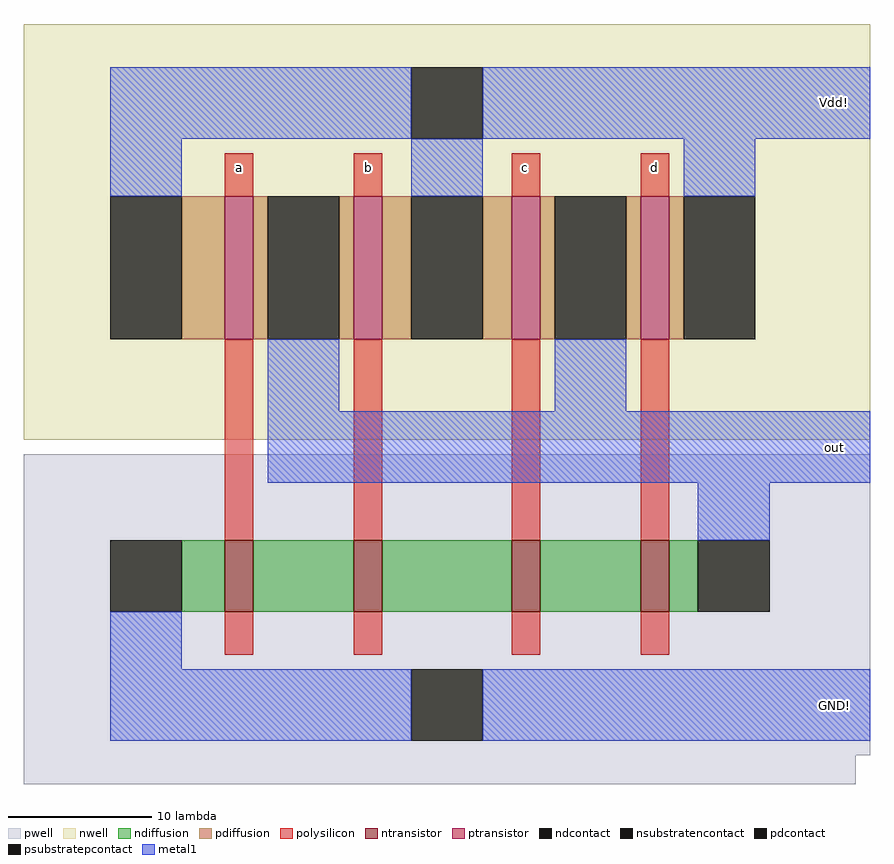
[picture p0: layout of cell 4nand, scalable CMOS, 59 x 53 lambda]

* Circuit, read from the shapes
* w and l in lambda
.subckt 4nand GND! Vdd! a b c d out
M1 n1 a GND! GND! nfet w=5 l=2
M2 n2 b n1 GND! nfet w=5 l=2
M3 n3 c n2 GND! nfet w=5 l=2
M4 out d n3 GND! nfet w=5 l=2
M5 out a Vdd! Vdd! pfet w=10 l=2
M6 Vdd! b out Vdd! pfet w=10 l=2
M7 out c Vdd! Vdd! pfet w=10 l=2
M8 Vdd! d out Vdd! pfet w=10 l=2
.ends

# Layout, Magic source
magic
tech scmos
<< nwell >>
rect 72 54 131 83
<< pwell >>
rect 72 32 131 53
rect 72 30 130 32
<< ntransistor >>
rect 86 42 88 47
rect 95 42 97 47
rect 106 42 108 47
rect 115 42 117 47
<< ptransistor >>
rect 86 61 88 71
rect 95 61 97 71
rect 106 61 108 71
rect 115 61 117 71
<< ndiffusion >>
rect 83 42 86 47
rect 88 42 95 47
rect 97 42 106 47
rect 108 42 115 47
rect 117 42 119 47
<< pdiffusion >>
rect 83 61 86 71
rect 88 61 89 71
rect 94 61 95 71
rect 97 61 99 71
rect 104 61 106 71
rect 108 61 109 71
rect 114 61 115 71
rect 117 61 118 71
<< ndcontact >>
rect 78 42 83 47
rect 119 42 124 47
<< pdcontact >>
rect 78 61 83 71
rect 89 61 94 71
rect 99 61 104 71
rect 109 61 114 71
rect 118 61 123 71
<< psubstratepcontact >>
rect 99 33 104 38
<< nsubstratencontact >>
rect 99 75 104 80
<< polysilicon >>
rect 86 71 88 74
rect 95 71 97 74
rect 106 71 108 74
rect 115 71 117 74
rect 86 47 88 61
rect 95 47 97 61
rect 106 47 108 61
rect 115 47 117 61
rect 86 39 88 42
rect 95 39 97 42
rect 106 39 108 42
rect 115 39 117 42
<< metal1 >>
rect 78 75 99 80
rect 104 75 131 80
rect 78 71 83 75
rect 99 71 104 75
rect 118 71 123 75
rect 89 56 94 61
rect 109 56 114 61
rect 89 51 131 56
rect 119 47 124 51
rect 78 38 83 42
rect 78 33 99 38
rect 104 33 131 38
<< labels >>
rlabel polysilicon 95 72 97 74 1 b
rlabel polysilicon 106 72 108 74 1 c
rlabel polysilicon 86 72 88 74 1 a
rlabel polysilicon 115 72 117 74 1 d
rlabel metal1 126 33 131 38 7 GND!
rlabel metal1 126 75 131 80 7 Vdd!
rlabel metal1 126 51 131 56 7 out
<< end >>
